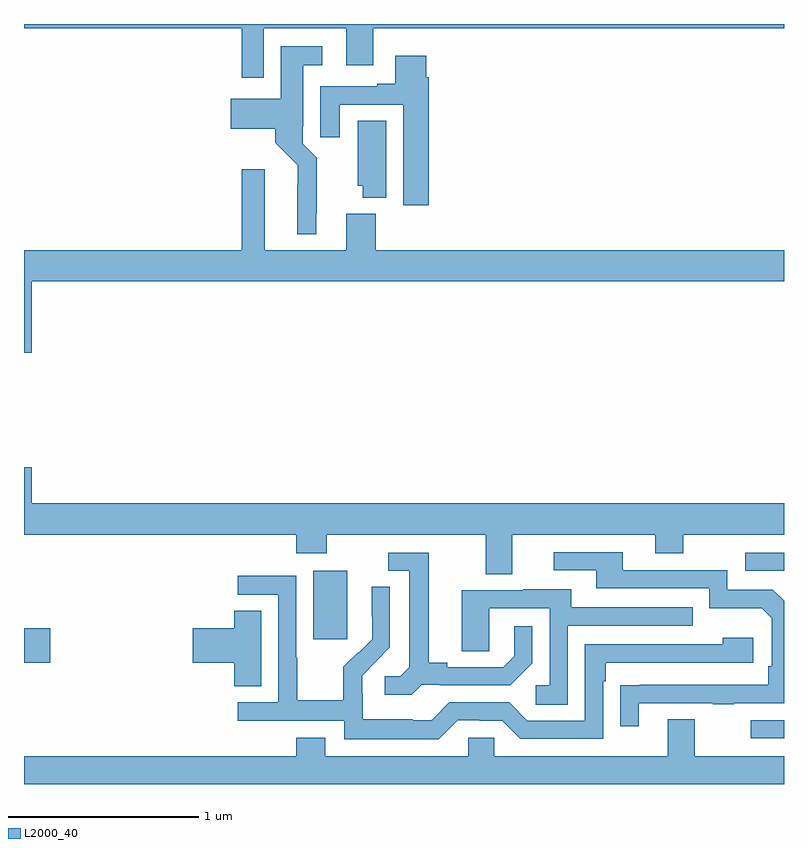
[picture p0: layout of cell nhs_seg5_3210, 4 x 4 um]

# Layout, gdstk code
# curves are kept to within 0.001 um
import gdstk
lib = gdstk.Library(unit=1e-6, precision=1e-09)
def R(c, l, rs):  # rectangles x0, y0, x1, y1
    for r in rs: c.add(gdstk.rectangle(r[:2], r[2:], *l))
def P(c, l, *ps):  # polygons
    for p in ps: c.add(gdstk.Polygon(p, *l))
L2000_40 = (2000, 40)

nhs_seg5_3210 = lib.new_cell('nhs_seg5_3210')
R(nhs_seg5_3210, L2000_40, [(300.825,837.039,301,837.135), (297,837.437,297.139,837.62), (298.523,837.561,298.702,837.922), (300.795,837.921,301,838.017)])
P(nhs_seg5_3210, L2000_40, [(298.263,840.776),(298.697,840.776),(298.697,840.582),(298.837,840.582),(298.837,840.776),(301,840.776),(301,840.799),(297,840.799),(297,840.776),(298.147,840.776),(298.147,840.516),(298.263,840.516)],
  [(298.537,839.803),(298.541,839.803),(298.541,840.094),(298.467,840.168),(298.467,840.262),(298.471,840.262),(298.471,840.581),(298.57,840.581),(298.57,840.682),(298.352,840.682),(298.352,840.406),(298.089,840.406),(298.089,840.248),(298.322,840.248),(298.322,840.174),(298.44,840.056),(298.439,839.693),(298.537,839.693)],
  [(299.129,840.518),(299.116,840.518),(299.116,840.631),(298.955,840.631),(298.955,840.484),(298.859,840.484),(298.859,840.471),(298.559,840.471),(298.559,840.204),(298.663,840.204),(298.663,840.375),(298.997,840.375),(298.997,839.844),(299.129,839.844)],
  [(298.906,840.29),(298.757,840.29),(298.757,839.949),(298.784,839.949),(298.784,839.885),(298.906,839.885)],
  [(297.04,839.444),(301,839.444),(301,839.608),(298.85,839.608),(298.85,839.8),(298.697,839.8),(298.697,839.608),(298.267,839.608),(298.267,840.034),(298.145,840.034),(298.145,839.608),(297,839.608),(297,839.07),(297.04,839.07)],
  [(299.569,838.112),(300.323,838.112),(300.323,838.013),(300.471,838.013),(300.471,838.112),(301,838.112),(301,838.276),(297.04,838.276),(297.04,838.465),(297,838.465),(297,838.112),(298.433,838.112),(298.433,838.013),(298.593,838.013),(298.593,838.112),(299.429,838.112),(299.429,837.904),(299.569,837.904)],
  [(300.235,837.225),(300.625,837.225),(300.625,837.22),(300.737,837.22),(300.737,837.225),(301,837.225),(301,837.764),(300.942,837.822),(300.702,837.822),(300.702,837.924),(300.151,837.924),(300.151,838.02),(299.787,838.02),(299.787,837.924),(300.011,837.924),(300.011,837.828),(300.606,837.828),(300.606,837.725),(300.883,837.725),(300.936,837.672),(300.936,837.418),(300.916,837.418),(300.916,837.321),(300.139,837.32),(300.139,837.102),(300.235,837.102)],
  [(299.094,837.321),(299.188,837.321),(299.188,837.318),(299.56,837.318),(299.676,837.434),(299.676,837.628),(299.579,837.628),(299.579,837.471),(299.522,837.414),(299.227,837.414),(299.227,837.437),(299.131,837.437),(299.131,838.017),(298.917,838.017),(298.917,837.921),(299.027,837.921),(299.027,837.413),(298.98,837.366),(298.899,837.366),(298.899,837.269),(299.042,837.269)],
  [(299.283,837.135),(299.399,837.135),(299.399,837.132),(299.517,837.132),(299.613,837.036),(300.048,837.036),(300.048,837.341),(300.061,837.341),(300.061,837.438),(300.838,837.438),(300.838,837.568),(300.677,837.568),(300.677,837.534),(299.952,837.534),(299.952,837.132),(299.649,837.132),(299.553,837.228),(299.238,837.228),(299.145,837.135),(299.045,837.135),(299.045,837.139),(298.782,837.139),(298.782,837.273),(298.78,837.273),(298.78,837.37),(298.926,837.518),(298.926,837.836),(298.83,837.836),(298.83,837.682),(298.832,837.682),(298.832,837.56),(298.761,837.489),(298.758,837.492),(298.681,837.415),(298.681,837.241),(298.437,837.241),(298.437,837.464),(298.434,837.464),(298.434,837.894),(298.125,837.894),(298.125,837.795),(298.338,837.795),(298.338,837.228),(298.125,837.228),(298.125,837.132),(298.686,837.132),(298.686,837.035),(299.183,837.035)],
  [(299.862,837.633),(300.521,837.633),(300.521,837.729),(299.881,837.729),(299.881,837.823),(299.627,837.823),(299.627,837.819),(299.303,837.819),(299.303,837.499),(299.448,837.499),(299.448,837.723),(299.766,837.723),(299.766,837.318),(299.694,837.318),(299.694,837.217),(299.862,837.217)],
  [(298.249,837.71),(298.106,837.71),(298.106,837.62),(297.888,837.62),(297.888,837.437),(298.106,837.437),(298.106,837.313),(298.249,837.313)],
  [(301,836.944),(300.529,836.944),(300.529,837.139),(300.389,837.139),(300.389,836.944),(299.475,836.944),(299.475,837.042),(299.337,837.042),(299.337,836.944),(298.585,836.944),(298.585,837.043),(298.433,837.043),(298.433,836.944),(297,836.944),(297,836.799),(301,836.799)])

lib.write_gds('nhs_seg5_3210.gds')
